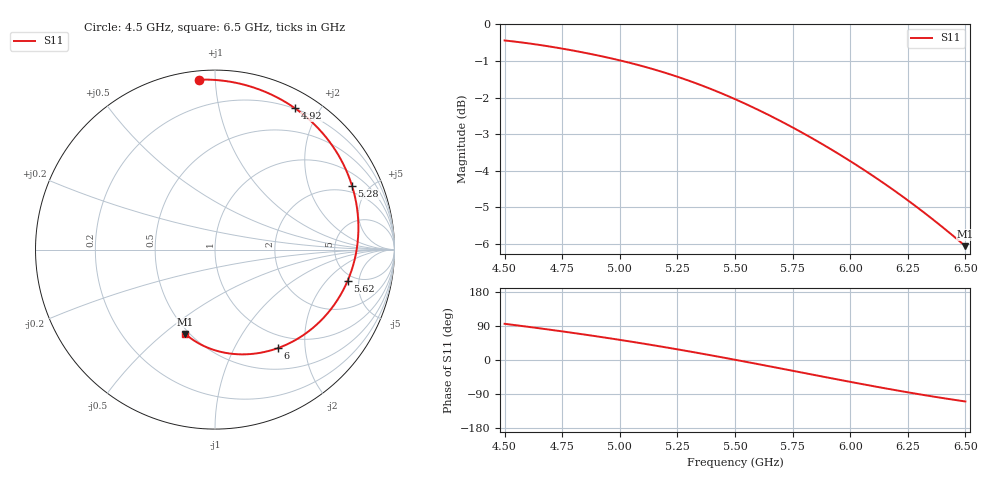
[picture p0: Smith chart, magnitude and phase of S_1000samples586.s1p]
! TOUCHSTONE file generated by CST MICROWAVE STUDIO
! Date and time: Fri Oct 28 16:49:38 2022
! Project name: L.cst
! Parameters = {Di=1.27; Epsilon_r=1.56; InnerDiameter=1.27; Length=2; Lf=10; Lg=60; OuterConductorThickness=0.2921; OuterDiameter=3.6; Wf=3; Wp=41.2; de=1.5; df=6.8; g=0.8; gx=4.33244; gy=4.60696; h=2.34; hf=1.524; px=13.9289; py=8.81484; w=9.7; wx=9.59647; wy=4.20788}
! Header version: 2018
! Port assignment regex: !\s*Touchstone port\s*([0-9]+)\s*=\s*(CST MWS port|CST DS port)\s*([0-9]+|Zmin|Zmax)\s*\(\"(.*)\"\)(\s*mode\s*([0-9]+))?.*
! Touchstone port assignment:
! Touchstone port 1 = CST MWS port 1 ("")
# GHz S DB R 50
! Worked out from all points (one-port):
!   101 points, 4.5 GHz to 6.5 GHz, reference 50 ohm
!   lowest |S11| = -6.1 dB at 6.5 GHz (marker M1), VSWR 2.98, Z = 23.8 - j29.7 ohm
!   |S11| at or under -10 dB: nowhere
!   S11 on the Smith chart (normalised r, x): 4.5 GHz: 0.05, +0.91; 4.92 GHz: 0.19, +1.70; 5.28 GHz: 1.60, +3.90; 5.62 GHz: 4.32, -3.53; 6 GHz: 0.79, -1.51; 6.5 GHz: 0.48, -0.59
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4.5  -0.44 95.5
4.58  -0.50 89.3
4.64  -0.55 84.5
4.76  -0.67 74.6
4.84  -0.76 67.7
4.92  -0.87 60.6
5  -0.98 53.1
5.06  -1.08 47.4
5.14  -1.21 39.5
5.26  -1.45 27.1
5.28  -1.49 24.9
5.34  -1.63 18.5
5.4  -1.78 11.9
5.5  -2.04 0.6
5.56  -2.21 -6.2
5.62  -2.39 -13.2
5.68  -2.58 -20.2
5.76  -2.85 -29.6
5.82  -3.06 -36.7
5.88  -3.27 -43.7
5.94  -3.50 -50.7
6  -3.73 -57.6
6.06  -3.98 -64.5
6.12  -4.23 -71.2
6.18  -4.49 -77.8
6.26  -4.85 -86.3
6.38  -5.43 -98.4
6.5  -6.06 -109.4
